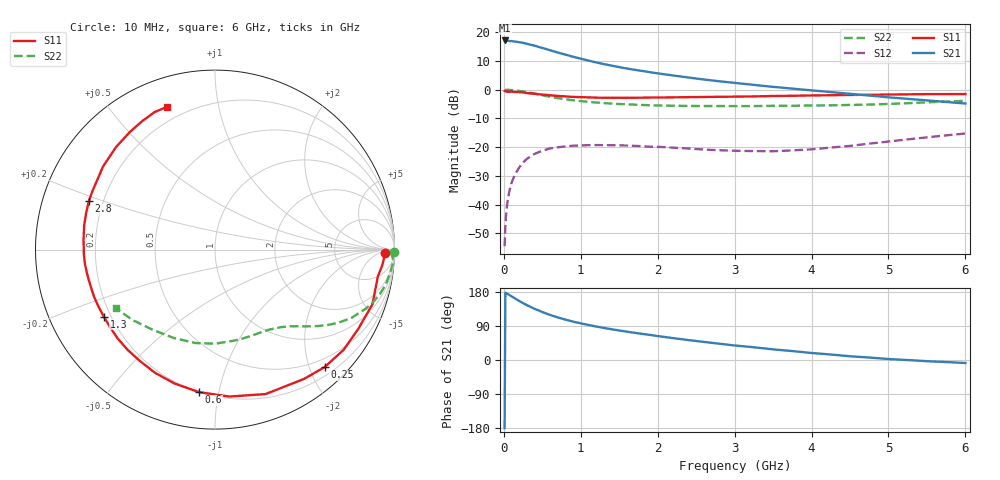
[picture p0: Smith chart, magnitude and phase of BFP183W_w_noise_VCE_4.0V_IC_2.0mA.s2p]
! Infineon Technologies  Discrete & RF Semiconductors
! BFP183W
! VCE =  4.0 V,  IC =  2.0 mA
! Common Emitter S-Parameters:  Jan 2017
# GHz  S  MA  R  50
!  f  S11  S21  S12  S22
! GHz  MAG  ANG  MAG  ANG  MAG  ANG  MAG  ANG
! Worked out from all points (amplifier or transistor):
!   77 points, 10 MHz to 6 GHz, reference 50 ohm
!   highest |S21| = 17.1 dB at 10 MHz (marker M1)
!   |S21| within 3 dB of that: start of sweep to 551 MHz
!   unconditionally stable (mu >= 1): 2.812 GHz to 4.885 GHz
!   at 130 MHz: K = 0.03, MSG = 23.6 dB, |S12| = -30.4 dB
!   at 2.2 GHz: K = 0.78, MSG = 12.5 dB, |S12| = -20.2 dB
!   at 6 GHz: K = 0.80, MSG = 5.2 dB, |S12| = -15.2 dB
!   lowest NFmin = 0.76 dB at 450 MHz
!   S11 on the Smith chart (normalised r, x): 10 MHz: 34, -12; 250 MHz: 0.34, -2.26; 600 MHz: 0.20, -0.88; 1.3 GHz: 0.17, -0.27; 2.8 GHz: 0.15, +0.18; 6 GHz: 0.13, +0.71
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0.01  0.949 -1.1  7.171 -180.0  0.0019 89.4  1 -0.8
0.02  0.9366 -5.2  7.166 177.7  0.0043 98.4  0.9864 -1.6
0.03  0.9304 -6.6  7.13 176.5  0.0068 90.8  0.9893 -2.4
0.07  0.92 -13.4  7.026 171.7  0.0166 83.2  0.9904 -5.4
0.15  0.9122 -29.1  6.863 161.9  0.0344 73.8  0.9711 -11.6
0.25  0.8954 -47.0  6.522 150.0  0.0542 63.6  0.929 -18.3
0.3  0.8745 -55.5  6.282 144.7  0.0627 59.2  0.9033 -21.3
0.4  0.8529 -70.7  5.823 135.0  0.0764 51.1  0.851 -26.5
0.5  0.8226 -84.4  5.315 126.6  0.0868 44.2  0.8 -30.6
0.6  0.7992 -96.3  4.858 119.0  0.0949 38.4  0.7539 -33.9
0.7  0.7794 -106.8  4.428 112.4  0.0993 33.8  0.7142 -36.6
0.8  0.7635 -115.9  4.071 106.6  0.1032 29.8  0.6819 -38.8
0.9  0.7484 -124.1  3.735 101.3  0.106 26.0  0.6545 -40.8
1.1  0.7342 -137.7  3.204 92.5  0.1084 21.0  0.6145 -44.1
1.3  0.7232 -148.9  2.785 84.7  0.1084 16.5  0.5849 -47.2
1.6  0.7221 -162.7  2.328 74.7  0.1068 12.5  0.557 -51.8
2.1  0.7317 178.8  1.841 60.5  0.0998 10.1  0.5283 -60.4
2.8  0.7528 159.0  1.4 43.0  0.0885 13.1  0.5192 -74.5
3.1  0.7584 152.1  1.271 36.5  0.0862 17.4  0.5175 -80.9
4.1  0.7956 132.4  0.946 16.9  0.0942 34.9  0.5318 -104.2
5.1  0.825 118.3  0.718 1.5  0.1298 44.1  0.5709 -130.1
6  0.8392 108.4  0.574 -8.0  0.1729 43.0  0.6407 -149.2
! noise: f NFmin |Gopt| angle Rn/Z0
0.45  0.76  0.48  45  0.22
0.9  0.95  0.41  86  0.19
1.9  1.77  0.52  156  0.09
2.4  2.08  0.55  173  0.09
